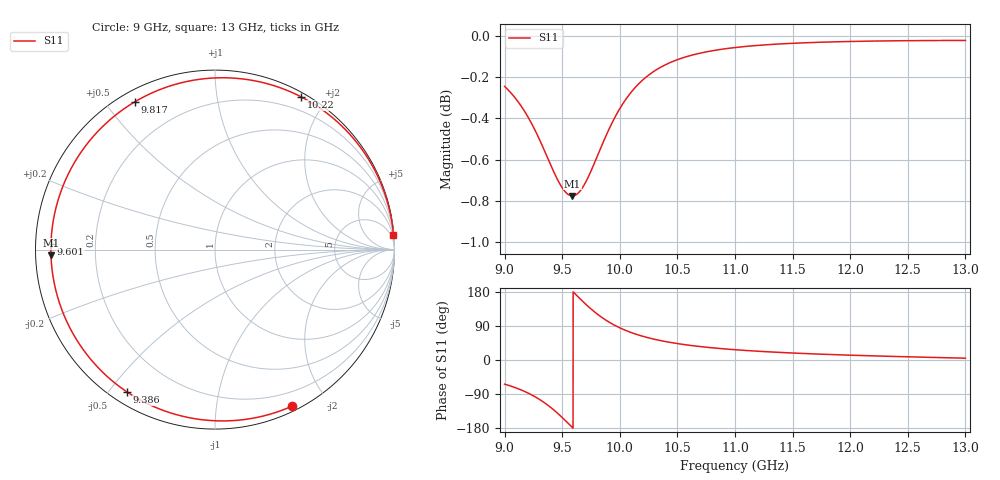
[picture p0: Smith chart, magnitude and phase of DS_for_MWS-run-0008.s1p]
! TOUCHSTONE file generated by CST DESIGN STUDIO
! Date and time: Wed Feb  5 13:46:40 2025
! Project name: C:\Work\MatlabApps\UnitCellOptimizationMatlab\CST\unitcell.cst
! Tree item: Tasks\Sweep1\SPara1\S-Parameters
! Header version: 2024
! Port assignment regex: !\s*Touchstone port\s*([0-9]+)\s*=\s*(CST MWS port|CST DES external port|CST DES block port)\s*(.+)\s* \(\"(.*)\"\)(\s*mode\s*([0-9]+))?.*
! Touchstone port assignment:
! Touchstone port 1 = CST DES external port 1 ("")
# GHz S MA R 50
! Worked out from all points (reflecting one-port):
!   4001 points, 9 GHz to 13 GHz, reference 50 ohm
!   lowest |S11| = -0.8 dB at 9.588 GHz (marker M1), VSWR 22.39, Z = 2.23 - j0.839 ohm
!   phase of S11 starts at -64 deg and turns -291 deg over the sweep
!   S11 on the Smith chart (normalised r, x): 9 GHz: 0.05, -1.61; 9.386 GHz: 0.05, -0.56; 9.601 GHz: 0.04, +0.02; 9.817 GHz: 0.04, +0.60; 10.22 GHz: 0.05, +1.71; 13 GHz: 1, +24
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9  0.9723 -63.7
9.048  0.9692 -68.2
9.117  0.964 -75.7
9.235  0.9522 -92.1
9.315  0.9422 -106.4
9.386  0.9324 -121.7
9.443  0.9248 -135.9
9.5  0.9186 -151.7
9.545  0.9155 -165.0
9.588  0.9145 -178.1
9.601  0.9146 177.9
9.656  0.917 161.3
9.717  0.9231 143.6
9.767  0.9297 130.4
9.817  0.9368 118.3
9.858  0.9427 109.4
9.901  0.9486 101.0
10  0.9603 84.9
10.106  0.9697 71.7
10.223  0.9771 60.6
10.351  0.9826 51.4
10.5  0.9869 43.3
10.72  0.9909 34.7
11  0.9937 27.1
11.5  0.996 18.4
12  0.997 12.7
12.5  0.9975 8.4
13  0.9976 4.8
